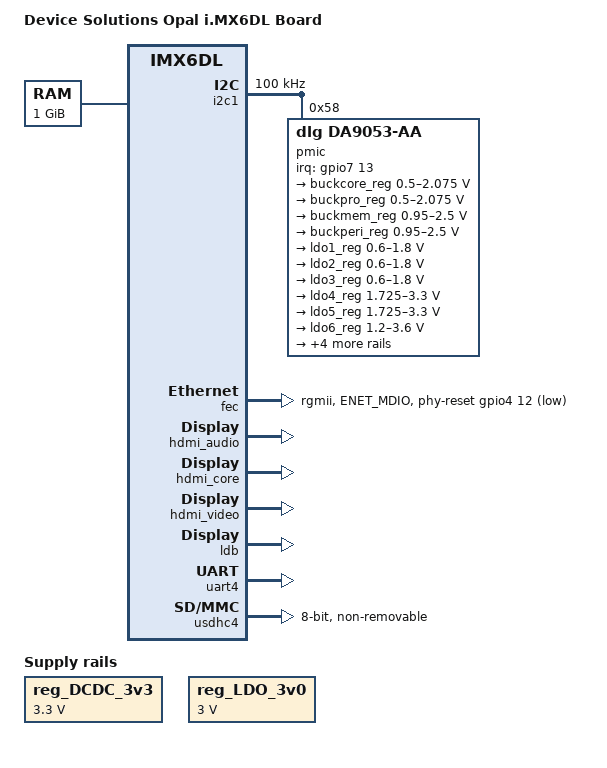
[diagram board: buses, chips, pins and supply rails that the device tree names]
/*
 * Copyright 2014 Device Solutions Ltd
 *
 * Author: John Inglis <john@clanbyte.com>
 *
 * This program is free software; you can redistribute it and/or modify
 * it under the terms of the GNU General Public License version 2 as
 * published by the Free Software Foundation.
 *
 */
#include "imx6dl.dtsi"
#include <dt-bindings/gpio/gpio.h>

/ {
	model = "Device Solutions Opal i.MX6DL Board";
	compatible = "devicesolutions,imx6dl-opal", "fsl,imx6dl";

	memory {
		reg = <0x10000000 0x40000000>;
	};

    regulators {
		compatible = "simple-bus";

		reg_DCDC_3v3: dcdc_3v3 {
			compatible = "regulator-fixed";
			regulator-name = "DCDC_3v3";
			regulator-min-microvolt = <3300000>;
			regulator-max-microvolt = <3300000>;
			regulator-always-on;
		};

		reg_LDO_3v0: ldo_3v0 {
			compatible = "regulator-fixed";
			regulator-name = "LDO_3v0";
			regulator-min-microvolt = <3000000>;
			regulator-max-microvolt = <3000000>;
			regulator-always-on;
		};
	};
};

&i2c1 {
	status = "okay";
	clock-frequency = <100000>;
	pinctrl-names = "default";
	pinctrl-0 = <&pinctrl_i2c1_2>;

    pmic: dialog@58 {
		compatible = "dlg,da9053-aa", "dlg,da9052";
		reg = <0x58>;
        interrupt-parent = <&gpio7>;
		interrupts = <13 0x8>;  /* active low triggered */

		regulators {
			buckcore_reg: buck1 {
				regulator-min-microvolt = <500000>;
				regulator-max-microvolt = <2075000>;
				regulator-always-on;
			};

			buckpro_reg: buck2 {
				regulator-min-microvolt = <500000>;
				regulator-max-microvolt = <2075000>;
				regulator-always-on;
			};

			buckmem_reg: buck3 {
				regulator-min-microvolt = <950000>;
				regulator-max-microvolt = <2500000>;
				regulator-always-on;
			};

			buckperi_reg: buck4 {
				regulator-min-microvolt = <950000>;
				regulator-max-microvolt = <2500000>;
				regulator-always-on;
			};

			ldo1_reg: ldo1 {
				regulator-min-microvolt = <600000>;
				regulator-max-microvolt = <1800000>;
				//regulator-boot-on;
				regulator-always-on;
			};

			ldo2_reg: ldo2 {
				regulator-min-microvolt = <600000>;
				regulator-max-microvolt = <1800000>;
				regulator-always-on;
			};

			ldo3_reg: ldo3 {
				regulator-min-microvolt = <600000>;
				regulator-max-microvolt = <1800000>;
				regulator-always-on;
			};

			ldo4_reg: ldo4 {
				regulator-min-microvolt = <1725000>;
				regulator-max-microvolt = <3300000>;
				regulator-always-on;
			};

			ldo5_reg: ldo5 {
				regulator-min-microvolt = <1725000>;
				regulator-max-microvolt = <3300000>;
				regulator-always-on;
			};

			ldo6_reg: ldo6 {
				regulator-min-microvolt = <1200000>;
				regulator-max-microvolt = <3600000>;
				regulator-always-on;
			};

			ldo7_reg: ldo7 {
				regulator-min-microvolt = <1200000>;
				regulator-max-microvolt = <3600000>;
				regulator-always-on;
			};

			ldo8_reg: ldo8 {
				regulator-min-microvolt = <1200000>;
				regulator-max-microvolt = <3600000>;
				regulator-always-on;
			};

			ldo9_reg: ldo9 {
				regulator-min-microvolt = <1250000>;
				regulator-max-microvolt = <3650000>;
				regulator-always-on;
			};

			ldo10_reg: ldo10 {
				regulator-min-microvolt = <1200000>;
				regulator-max-microvolt = <3600000>;
				regulator-always-on;
			};
		};
	};
};

&fec {  /* fast ethernet controller */
	pinctrl-names = "default";
	pinctrl-0 = <&pinctrl_enet_1>;
	phy-mode = "rgmii";
    phy-reset-gpios = <&gpio4 12 GPIO_ACTIVE_LOW>;
	status = "okay";
};

&hdmi_audio {
	status = "okay";
};

&hdmi_core {
	ipu_id = <0>;
	disp_id = <1>;
	status = "okay";
};

&hdmi_video {
	fsl,phy_reg_vlev = <0x0294>;
	fsl,phy_reg_cksymtx = <0x800d>;
	status = "okay";
};

&ldb {
	status = "okay";

	lvds-channel@0 {
		fsl,data-mapping = "spwg";
		fsl,data-width = <18>;
		primary;
		status = "okay";

		display-timings {
			native-mode = <&timing0>;
			timing0: hsd100pxn1 {
				clock-frequency = <65000000>;
				hactive = <1024>;
				vactive = <768>;
				hback-porch = <220>;
				hfront-porch = <40>;
				vback-porch = <21>;
				vfront-porch = <7>;
				hsync-len = <60>;
				vsync-len = <10>;
			};
		};
	};

	lvds-channel@1 {
		fsl,data-mapping = "spwg";
		fsl,data-width = <18>;
		status = "okay";

		display-timings {
			native-mode = <&timing1>;
			timing1: hsd100pxn1 {
				clock-frequency = <65000000>;
				hactive = <1024>;
				vactive = <768>;
				hback-porch = <220>;
				hfront-porch = <40>;
				vback-porch = <21>;
				vfront-porch = <7>;
				hsync-len = <60>;
				vsync-len = <10>;
			};
		};
	};
};

&uart4 {  /* debug serial */
	pinctrl-names = "default";
	pinctrl-0 = <&pinctrl_uart4_1>;
	status = "okay";
};

&usdhc4 {  /* eMMC */
	pinctrl-names = "default";
	pinctrl-0 = <&pinctrl_usdhc4_1>;
	non-removable;
    no-1-8-v;
	bus-width = <8>;
	status = "okay";
};

&iomuxc {
    pinctrl-names = "default";
	pinctrl-0 = <&pinctrl_hog>;

	imx6dl-opal6 {
		pinctrl_hog: hoggrp {
			fsl,pins = <
                /* PMIC */
                MX6QDL_PAD_GPIO_18__GPIO7_IO13  0x80000000
                /* PHY Reset */
				MX6QDL_PAD_KEY_COL3__GPIO4_IO12 0x80000000
			>;
		};

		pinctrl_enet_1: enetgrp-1 {
			fsl,pins = <
				MX6QDL_PAD_ENET_MDIO__ENET_MDIO 0x1f0b0  // enable 22K pullup
			>;
		};
    };
};
